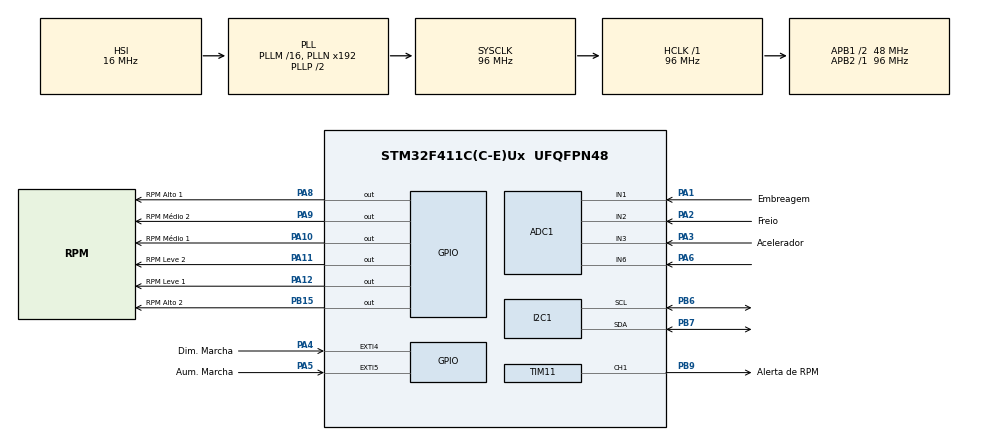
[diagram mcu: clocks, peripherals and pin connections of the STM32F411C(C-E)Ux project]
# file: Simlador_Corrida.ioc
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ADC1.Channel-0\#ChannelRegularConversion=ADC_CHANNEL_6
ADC1.Channel-1\#ChannelRegularConversion=ADC_CHANNEL_1
ADC1.Channel-2\#ChannelRegularConversion=ADC_CHANNEL_2
ADC1.Channel-3\#ChannelRegularConversion=ADC_CHANNEL_3
ADC1.ContinuousConvMode=DISABLE
ADC1.DMAContinuousRequests=ENABLE
ADC1.DiscontinuousConvMode=DISABLE
ADC1.EnableAnalogWatchDog=false
ADC1.ExternalTrigConv=ADC_EXTERNALTRIGCONV_T3_TRGO
ADC1.NbrOfConversion=4
ADC1.NbrOfConversionFlag=1
ADC1.Rank-0\#ChannelRegularConversion=1
ADC1.Rank-1\#ChannelRegularConversion=2
ADC1.Rank-2\#ChannelRegularConversion=3
ADC1.Rank-3\#ChannelRegularConversion=4
ADC1.SamplingTime-0\#ChannelRegularConversion=ADC_SAMPLETIME_3CYCLES
ADC1.SamplingTime-1\#ChannelRegularConversion=ADC_SAMPLETIME_3CYCLES
ADC1.SamplingTime-2\#ChannelRegularConversion=ADC_SAMPLETIME_3CYCLES
ADC1.SamplingTime-3\#ChannelRegularConversion=ADC_SAMPLETIME_3CYCLES
ADC1.ScanConvMode=ENABLE
ADC1.master=1
Dma.ADC1.0.Direction=DMA_PERIPH_TO_MEMORY
Dma.ADC1.0.FIFOMode=DMA_FIFOMODE_DISABLE
Dma.ADC1.0.Instance=DMA2_Stream0
Dma.ADC1.0.MemDataAlignment=DMA_MDATAALIGN_HALFWORD
Dma.ADC1.0.MemInc=DMA_MINC_ENABLE
Dma.ADC1.0.Mode=DMA_CIRCULAR
Dma.ADC1.0.PeriphDataAlignment=DMA_PDATAALIGN_HALFWORD
Dma.ADC1.0.PeriphInc=DMA_PINC_DISABLE
Dma.ADC1.0.Priority=DMA_PRIORITY_HIGH
Dma.Request0=ADC1
Mcu.Family=STM32F4
Mcu.Name=STM32F411C(C-E)Ux
Mcu.Package=UFQFPN48
NVIC.DMA2_Stream0_IRQn=true\:5\:0\:true\:false\:true\:false\:true\:true
NVIC.EXTI4_IRQn=true\:0\:0\:false\:false\:true\:true\:true\:true
NVIC.EXTI9_5_IRQn=true\:0\:0\:false\:false\:true\:true\:true\:true
NVIC.PriorityGroup=NVIC_PRIORITYGROUP_4
NVIC.TIM3_IRQn=true\:0\:0\:false\:false\:true\:true\:true\:true
PA0-WKUP.Mode=SYS_WakeUp0
PA0-WKUP.Signal=SYS_WKUP
PA1.GPIO_Label=Embreagem
PA1.Signal=ADCx_IN1
PA10.GPIO_Label=RPM M\u00E9dio 1
PA10.Signal=GPIO_Output
PA11.GPIO_Label=RPM Leve 2
PA11.Signal=GPIO_Output
PA12.GPIO_Label=RPM Leve 1
PA12.Signal=GPIO_Output
PA13.Mode=Serial_Wire
PA13.Signal=SYS_JTMS-SWDIO
PA14.Mode=Serial_Wire
PA14.Signal=SYS_JTCK-SWCLK
PA2.GPIO_Label=Freio
PA2.Signal=ADCx_IN2
PA3.GPIO_Label=Acelerador
PA3.Signal=ADCx_IN3
PA4.GPIO_Label=Dim. Marcha
PA4.GPIO_ModeDefaultEXTI=GPIO_MODE_IT_FALLING
PA4.Signal=GPXTI4
PA5.GPIO_Label=Aum. Marcha
PA5.GPIO_ModeDefaultEXTI=GPIO_MODE_IT_FALLING
PA5.Signal=GPXTI5
PA6.Signal=ADCx_IN6
PA8.GPIO_Label=RPM Alto 1
PA8.Signal=GPIO_Output
PA9.GPIO_Label=RPM M\u00E9dio 2
PA9.Signal=GPIO_Output
PB15.GPIO_Label=RPM Alto 2
PB15.Signal=GPIO_Output
PB6.Mode=I2C
PB6.Signal=I2C1_SCL
PB7.Mode=I2C
PB7.Signal=I2C1_SDA
PB9.GPIO_Label=Alerta de RPM
PB9.Signal=S_TIM11_CH1
PC14-OSC32_IN.Mode=LSE-External-Oscillator
PC14-OSC32_IN.Signal=RCC_OSC32_IN
PC15-OSC32_OUT.Mode=LSE-External-Oscillator
PC15-OSC32_OUT.Signal=RCC_OSC32_OUT
PH0\ -\ OSC_IN.Mode=HSE-External-Oscillator
PH0\ -\ OSC_IN.Signal=RCC_OSC_IN
PH1\ -\ OSC_OUT.Mode=HSE-External-Oscillator
PH1\ -\ OSC_OUT.Signal=RCC_OSC_OUT
ProjectManager.HeapSize=0x200
ProjectManager.StackSize=0x400
ProjectManager.TargetToolchain=STM32CubeIDE
RCC.AHBFreq_Value=96000000
RCC.APB1CLKDivider=RCC_HCLK_DIV2
RCC.APB1Freq_Value=48000000
RCC.APB1TimFreq_Value=96000000
RCC.APB2Freq_Value=96000000
RCC.APB2TimFreq_Value=96000000
RCC.CortexFreq_Value=96000000
RCC.HCLKFreq_Value=96000000
RCC.HSE_VALUE=25000000
RCC.HSI_VALUE=16000000
RCC.SYSCLKFreq_VALUE=96000000
RCC.SYSCLKSource=RCC_SYSCLKSOURCE_PLLCLK
RCC.VCOOutputFreq_Value=192000000
SH.ADCx_IN1.0=ADC1_IN1,IN1
SH.ADCx_IN2.0=ADC1_IN2,IN2
SH.ADCx_IN3.0=ADC1_IN3,IN3
SH.ADCx_IN6.0=ADC1_IN6,IN6
SH.S_TIM11_CH1.0=TIM11_CH1,PWM Generation1 CH1
TIM10.AutoReloadPreload=TIM_AUTORELOAD_PRELOAD_DISABLE
TIM10.Period=9999
TIM10.Prescaler=9599
TIM11.Channel=TIM_CHANNEL_1
TIM11.Period=1000
TIM11.Prescaler=83
TIM3.AutoReloadPreload=TIM_AUTORELOAD_PRELOAD_ENABLE
TIM3.Period=9999
TIM3.Prescaler=95
TIM3.TIM_MasterOutputTrigger=TIM_TRGO_UPDATE
VP_TIM10_VS_ClockSourceINT.Mode=Enable_Timer
VP_TIM11_VS_ClockSourceINT.Mode=Enable_Timer
VP_TIM3_VS_ClockSourceINT.Mode=Internal
board=custom

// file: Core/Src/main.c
/* USER CODE BEGIN Header */
/**
  ******************************************************************************
  * @file           : main.c
  * @brief          : Main program body
  ******************************************************************************
  * @attention
  *
  * Copyright (c) 2025 STMicroelectronics.
  * All rights reserved.
  *
  * This software is licensed under terms that can be found in the LICENSE file
  * in the root directory of this software component.
  * If no LICENSE file comes with this software, it is provided AS-IS.
  *
  ******************************************************************************
  */
/* USER CODE END Header */
#include "main.h"
#include "adc.h"
#include "dma.h"
#include "i2c.h"
#include "tim.h"
#include "gpio.h"

/* USER CODE BEGIN Includes */
#include "math.h"
#include "i2c_lcd.h"
#include "stdio.h"

/* USER CODE END Includes */

void SystemClock_Config(void);

/* USER CODE BEGIN 0 */
	/*========================================*/
	/*           Global  Variables            */

	float Vd        	 		    = 1.6e-3f;
	float densidade_ar              = 1.18f;
	float AFR       			    = 14.7f;
	float LHV       			    = 44e6f;
	float eficiencia_termica_motor  = 0.28f;
	float inercia_motor    	 	    = 0.15f;
	float raio_roda   			    = 0.34f;
	float massa      			    = 800.0f;
	float Cd        			    = 0.32f;     // Coef. arrasto aerodinâmico
	float area_frontal			    = 1.5f;
	float Crr       			    = 0.015f;    // Coef. rolamento
	float gravidade         	    = 9.81f;
	float i_fd      			    = 3.9f;      // Relação diferencial
	float eficiencia_transmissao    = 0.95f;
	float dt        			    = 0.01f;
	float gears[6] 				    = {8.0f,5.5f, 3.5f, 2.8f, 2.0f, 1.5f};
	int gear_index 				    = 0;
	//---------------------------------------------------------------------------
	float VE 					    = 0;
	float massa_ar 				    = 0;
	float massa_combustivel 	    = 0;
	float Potencia 				    = 0;
	float velocidade_angular_local  = 0;
	float T 					    = 0;
	float RPM             		    = 0;
	float Friccao_motor 		    = 0;
	float i_gear 				    = 0;
	float velocidade_angular_roda   = 0;
	float velocidade_angular_target = 0;
	float velocidade_angular_diff   = 0;
	float T_embreagem               = 0;
	float alpha_eng                 = 0;
	float T_eng                     = 0;
	float k_embreagem               = 200.0f;
	float velocidade_angular        = 0;
	float T_roda                    = 0;
	float F_ativa                   = 0;
	float F_arrasto                 = 0;
	float F_atrito                  = 0;
	float F_freio  					= 0;
	float F_freio_max 				= 8000.0f;
	float F_resistiva_total         = 0;
	float a                         = 0;
	float velocidade_angular_idle   = 800.0f * 2.0f * M_PI / 60.0f;
	float v                         = 0.0f;
	float vkm_h						= 0.0f;
	float x                         = 0.0f;
	float embreagem                 = 0.0f;
	float accel_pedal               = 0.0f;
	float brake_pedal               = 0.0f;

	float calc_engine_torque(float RPM, float Pedal);
	float calc_VE(float RPM, float Pedal);
	void  principal(void);
	void  BuzzerAlert_Update(float rpm);
	void  led_RPM(float rpm);
	void painel_lcd(void);

	/*========================================*/

	uint16_t adcBuffer[4];
	float Pedal_embreagem=0;
	float Pedal_freio=0;
	float Pedal_acelerador=0;
	float volante = 0;
	uint32_t timer_clk 				= 1000000;
		uint32_t period					=0;
		float duty  					=0;
		float freq						=0;
	uint32_t lastPress4 = 0;
	uint32_t lastPress5 = 0;
	uint32_t t_prev = 0;
	uint32_t t_now =0;
	int timer = 0;

	int painel   = 1;
	int exibicao = 1;

/* USER CODE END 0 */

int main(void)
{

  /* MCU Configuration--------------------------------------------------------*/

  /* Reset of all peripherals, Initializes the Flash interface and the Systick. */
  HAL_Init();

  /* Configure the system clock */
  SystemClock_Config();

  /* Initialize all configured peripherals */
  MX_GPIO_Init();
  MX_DMA_Init();
  MX_ADC1_Init();
  MX_TIM11_Init();
  MX_TIM3_Init();
  MX_I2C1_Init();
  MX_TIM10_Init();
  /* USER CODE BEGIN 2 */
  HAL_TIM_PWM_Start(&htim11, TIM_CHANNEL_1);
  HAL_TIM_Base_Start_IT(&htim3);
  HAL_ADC_Start_DMA(&hadc1, (uint32_t*)adcBuffer, 4);
  lcd_init();
  HAL_Delay(50);
  lcd_put_cursor(0,0);
  lcd_send_string("Simulador");
  lcd_put_cursor(1, 0);
  lcd_send_string("Corrida");
  HAL_Delay(1000);
  lcd_clear();
  lcd_put_cursor(0, 0);
  lcd_send_string("Selecione");
  lcd_put_cursor(1, 0);
  lcd_send_string("modo");
  HAL_Delay(1000);
  uint32_t now = 0;
  while(now-lastPress4 <= 10000||now-lastPress5<=10000){
	  now = HAL_GetTick();
	  lcd_clear();

	  switch(exibicao){
		  case 1 :
			  lcd_put_cursor(0,0);
			  lcd_send_string("Velocidade");
			  lcd_put_cursor(1, 0);
			  lcd_send_string("RPM");
			  break;
		  case 2:
			  lcd_put_cursor(0,0);
			  lcd_send_string("Forças Ativas");
			  lcd_put_cursor(1, 0);
			  lcd_send_string("Resistivas");
			  break;
		  case 3:
			  lcd_put_cursor(0,0);
			  lcd_send_string("Torque");
			  lcd_put_cursor(1, 0);
			  lcd_send_string("Efi. Volumetrica");
			  break;
		  case 4:
			  lcd_put_cursor(0,0);
			  lcd_send_string("Massa de Ar");
			  lcd_put_cursor(1, 0);
			  lcd_send_string("Massa combustível");
			  break;
		  case 5:
			  lcd_put_cursor(0,0);
			  lcd_send_string("Acelerador");
			  lcd_put_cursor(1, 0);
			  lcd_send_string("Embreagem");
			  break;
		  default:
			  lcd_put_cursor(0,0);
			  lcd_send_string("Erro!");
			  break;
	  }
	  HAL_Delay(1000);
  }
  painel = 0;
  lcd_clear();
  lcd_put_cursor(0,0);
  lcd_send_string("Iniciando...");
  HAL_Delay(2000);
  lcd_clear();
//variaveis que vao no LCD VELOCIDADE, RPM e MARCHA

  /* USER CODE END 2 */

  /* Infinite loop */
  while (1){

    /* USER CODE BEGIN 3 */
	  principal();
	  led_RPM(RPM);
	  painel_lcd();
	  BuzzerAlert_Update(RPM);

  }
}

float calc_VE(float RPM, float Pedal) {
    VE = Pedal * (0.9f * expf(-powf((RPM - 8000.0f) / 5000.0f, 2.0f)) + 0.2f);
    return VE;
}
float calc_engine_torque(float RPM, float Pedal) {
    VE = calc_VE(RPM, Pedal);
    massa_ar = densidade_ar * VE * Vd * RPM / 120.0f;
    massa_combustivel = massa_ar / AFR;
    Potencia = eficiencia_termica_motor  * massa_combustivel * LHV;
    velocidade_angular_local = RPM * 2.0f * M_PI / 60.0f;
    if (velocidade_angular_local < 1.0f) velocidade_angular_local = 1.0f;
    T = Potencia / velocidade_angular_local; // Torque (N·m)
    return T;
}

void principal(void){
	  t_now = HAL_GetTick();
	  float dt = (t_now - t_prev) / 1000.0f; // converte para segundos
	  t_prev = t_now;
	  if (dt<= 0.0f) dt = 0.001f;
	  RPM = velocidade_angular * 60.0f / (2.0f * M_PI);
	  // =========================
	  T_eng = calc_engine_torque(RPM, accel_pedal);

	  Friccao_motor = 7.0f + 0.005f * RPM;
	  if (accel_pedal < 0.05f && RPM < 900.0f)
		  T_eng = 20.0f;

	  // =========================

	  i_gear = gears[gear_index];
	  velocidade_angular_roda = v / raio_roda;
	  velocidade_angular_target = velocidade_angular_roda * i_gear * i_fd;
	  velocidade_angular_diff = velocidade_angular - velocidade_angular_target;

	  T_embreagem = k_embreagem * velocidade_angular_diff * embreagem;

	  if (fabsf(T_embreagem) > fabsf(T_eng)){

		  T_embreagem = T_eng * (T_embreagem > 0 ? 1 : -1);
	  }
	  // =========================
	  alpha_eng = (T_eng - T_embreagem - Friccao_motor) / inercia_motor;
	  velocidade_angular += alpha_eng * dt;
	  if (velocidade_angular < velocidade_angular_idle)velocidade_angular = velocidade_angular_idle;
	  // =========================
	  T_roda = T_embreagem * i_gear * i_fd * eficiencia_transmissao;

	  F_ativa = T_roda / raio_roda;
	  F_arrasto = 0.5f * densidade_ar * Cd * area_frontal * v * v;
	  F_atrito = massa * gravidade * Crr;
	  F_freio = brake_pedal * F_freio_max;
	  F_resistiva_total = F_arrasto + F_atrito + F_freio;
	  // =========================
	  // 5. Aceleração e movimento
	  // =========================
	  a = (F_ativa - F_resistiva_total) / massa;
	  v += a * dt;
	  vkm_h = v *3.6;
	  if (v < 0.0f) v = 0.0f;

	  x += v * dt;
}
void HAL_GPIO_EXTI_Callback(uint16_t GPIO_Pin){
    uint32_t now = HAL_GetTick();
    if(painel == 0){
		if (GPIO_Pin == GPIO_PIN_4 && (now - lastPress4 > 100)) {
			lastPress4 = now;
			if (gear_index > 0) gear_index--;
		}
		else if (GPIO_Pin == GPIO_PIN_5 && (now - lastPress5 > 100)) {
			lastPress5 = now;
			if (gear_index < 5) gear_index++;
		}
    }
    else{
    	if (GPIO_Pin == GPIO_PIN_4 && (now - lastPress4 > 100)) {
    		lastPress4 = now;
    		if (exibicao > 1) exibicao--;
    		else exibicao = 5;

    	}
		else if (GPIO_Pin == GPIO_PIN_5 && (now - lastPress5 > 100)) {
			lastPress5 = now;
			if(exibicao < 5) exibicao++;
			else exibicao=1;
		}

    }
}
void led_RPM(float rpm){
	(rpm >= 900 )  ? HAL_GPIO_WritePin(GPIOA,GPIO_PIN_12,GPIO_PIN_SET) : HAL_GPIO_WritePin(GPIOA,GPIO_PIN_12,GPIO_PIN_RESET);
	(rpm >= 2000)  ? HAL_GPIO_WritePin(GPIOA,GPIO_PIN_11,GPIO_PIN_SET) : HAL_GPIO_WritePin(GPIOA,GPIO_PIN_11,GPIO_PIN_RESET);
	(rpm >= 4000)  ? HAL_GPIO_WritePin(GPIOA,GPIO_PIN_10,GPIO_PIN_SET) : HAL_GPIO_WritePin(GPIOA,GPIO_PIN_10,GPIO_PIN_RESET);
	(rpm >= 5000)  ? HAL_GPIO_WritePin(GPIOA,GPIO_PIN_9,GPIO_PIN_SET)  : HAL_GPIO_WritePin(GPIOA,GPIO_PIN_9,GPIO_PIN_RESET);
	(rpm >= 8000)  ? HAL_GPIO_WritePin(GPIOA,GPIO_PIN_8,GPIO_PIN_SET)  : HAL_GPIO_WritePin(GPIOA,GPIO_PIN_8,GPIO_PIN_RESET);
	(rpm >= 10000) ? HAL_GPIO_WritePin(GPIOB,GPIO_PIN_15,GPIO_PIN_SET) : HAL_GPIO_WritePin(GPIOB,GPIO_PIN_15,GPIO_PIN_RESET);
}
void painel_lcd(void){
	char buffer[20];
	//HAL_Delay(100);
	if(timer==2000){
		lcd_clear();
		 switch(exibicao){
			  case 1 :
				  lcd_put_cursor(0,0);
					snprintf(buffer, sizeof(buffer), "RPM: %.2f", RPM);
					lcd_send_string(buffer);

					lcd_put_cursor(1,0);
					snprintf(buffer, sizeof(buffer), "Vel: %.2f km/h", vkm_h);
					lcd_send_string(buffer);
				  break;
			  case 2:
				  lcd_put_cursor(0,0);
					snprintf(buffer, sizeof(buffer), "F. Ativa: %.2f", F_ativa);
					lcd_send_string(buffer);

					lcd_put_cursor(1,0);
					snprintf(buffer, sizeof(buffer), "F. Resist.: %.2f ", F_resistiva_total);
					lcd_send_string(buffer);
				  break;
			  case 3:
				  lcd_put_cursor(0,0);
					snprintf(buffer, sizeof(buffer), "Torque: %.2f", T_eng);
					lcd_send_string(buffer);

					lcd_put_cursor(1,0);
					snprintf(buffer, sizeof(buffer), "Efic. Vol. %.2f ", VE);
					lcd_send_string(buffer);
				  break;
			  case 4:
				  lcd_put_cursor(0,0);
					snprintf(buffer, sizeof(buffer), "Massa Ar: %.2f g", massa_ar);
					lcd_send_string(buffer);

					lcd_put_cursor(1,0);
					snprintf(buffer, sizeof(buffer), "Massa Comb.: %.2f g", massa_combustivel);
					lcd_send_string(buffer);
				  break;
			  case 5:
				  lcd_put_cursor(0,0);
					snprintf(buffer, sizeof(buffer), "Acelerador: %.2f", accel_pedal);
					lcd_send_string(buffer);

					lcd_put_cursor(1,0);
					snprintf(buffer, sizeof(buffer), "Embreagem: %.2f", embreagem);
					lcd_send_string(buffer);
				  break;
			  default:
				  lcd_put_cursor(0,0);
				  lcd_send_string("Erro!");
			  }
		 timer =0;
		}
	timer++;
}
void BuzzerAlert_Update(float rpm) {
    if (rpm < 5000.0f) {
        HAL_TIM_PWM_Stop(&htim11, TIM_CHANNEL_1);
        return;
    }
    else{
    	freq = 300.0f + (rpm - 5000.0f) * 0.24f;
    	if (freq > 1500.0f) freq = 1500.0f;

    	period = (uint32_t)(timer_clk / freq);
    	htim11.Instance->ARR = period;

    	duty = 0.10f + (rpm - 5000.0f) * (0.30f / 5000.0f);
    	if (duty > 0.40f) duty = 0.40f;
    	htim11.Instance->CCR1 = (uint32_t)(period * duty);
    	HAL_TIM_PWM_Start(&htim11, TIM_CHANNEL_1);
    }

}

void HAL_TIM_PeriodElapsedCallback(TIM_HandleTypeDef *htim){
			if (htim->Instance == TIM3){
				volante     = roundf((adcBuffer[0] / 4095.0f)*100.0f)/100.0f;
				embreagem   = roundf(((4095-adcBuffer[1]) / 4095.0f)*100.0f)/100.0f;
				brake_pedal = roundf((adcBuffer[2] / 4095.0f)*100.0f)/100.0f;
				accel_pedal = roundf((adcBuffer[3] / 4095.0f)*100.0f)/100.0f;

			}
			if (htim->Instance == TIM10) {
			   BuzzerAlert_Update(RPM);

			 }
  /* USER CODE END 3 */
}

void SystemClock_Config(void)
{
  RCC_OscInitTypeDef RCC_OscInitStruct = {0};
  RCC_ClkInitTypeDef RCC_ClkInitStruct = {0};

  /** Configure the main internal regulator output voltage
  */
  __HAL_RCC_PWR_CLK_ENABLE();
  __HAL_PWR_VOLTAGESCALING_CONFIG(PWR_REGULATOR_VOLTAGE_SCALE1);

  /** Initializes the RCC Oscillators according to the specified parameters
  * in the RCC_OscInitTypeDef structure.
  */
  RCC_OscInitStruct.OscillatorType = RCC_OSCILLATORTYPE_HSI;
  RCC_OscInitStruct.HSIState = RCC_HSI_ON;
  RCC_OscInitStruct.HSICalibrationValue = RCC_HSICALIBRATION_DEFAULT;
  RCC_OscInitStruct.PLL.PLLState = RCC_PLL_ON;
  RCC_OscInitStruct.PLL.PLLSource = RCC_PLLSOURCE_HSI;
  RCC_OscInitStruct.PLL.PLLM = 16;
  RCC_OscInitStruct.PLL.PLLN = 192;
  RCC_OscInitStruct.PLL.PLLP = RCC_PLLP_DIV2;
  RCC_OscInitStruct.PLL.PLLQ = 4;
  if (HAL_RCC_OscConfig(&RCC_OscInitStruct) != HAL_OK)
  {
    Error_Handler();
  }

  /** Initializes the CPU, AHB and APB buses clocks
  */
  RCC_ClkInitStruct.ClockType = RCC_CLOCKTYPE_HCLK|RCC_CLOCKTYPE_SYSCLK
                              |RCC_CLOCKTYPE_PCLK1|RCC_CLOCKTYPE_PCLK2;
  RCC_ClkInitStruct.SYSCLKSource = RCC_SYSCLKSOURCE_PLLCLK;
  RCC_ClkInitStruct.AHBCLKDivider = RCC_SYSCLK_DIV1;
  RCC_ClkInitStruct.APB1CLKDivider = RCC_HCLK_DIV2;
  RCC_ClkInitStruct.APB2CLKDivider = RCC_HCLK_DIV1;

  if (HAL_RCC_ClockConfig(&RCC_ClkInitStruct, FLASH_LATENCY_3) != HAL_OK)
  {
    Error_Handler();
  }
}

void Error_Handler(void)
{
  __disable_irq();
  while (1)
  {
  }
}
